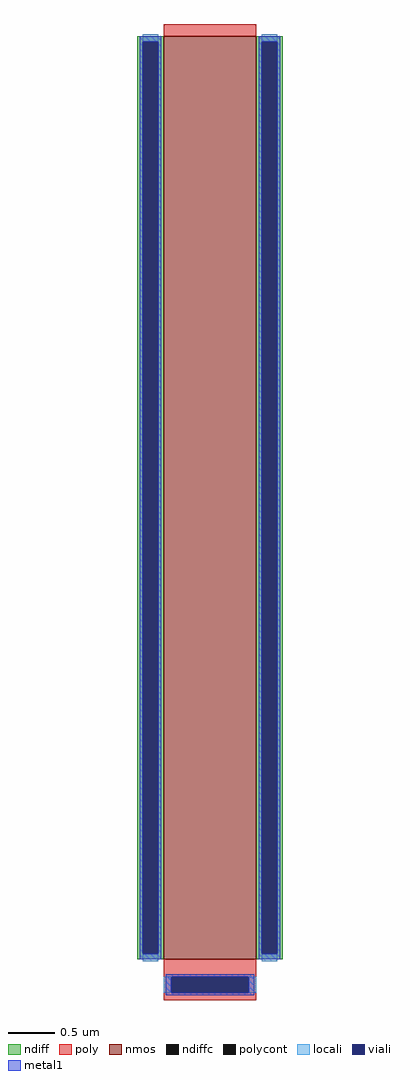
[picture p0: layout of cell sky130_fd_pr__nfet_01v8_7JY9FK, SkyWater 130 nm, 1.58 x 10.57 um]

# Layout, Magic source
magic
tech sky130A
magscale 1 2
<< nmos >>
rect -100 -969 100 1031
<< ndiff >>
rect -158 1019 -100 1031
rect -158 -957 -146 1019
rect -112 -957 -100 1019
rect -158 -969 -100 -957
rect 100 1019 158 1031
rect 100 -957 112 1019
rect 146 -957 158 1019
rect 100 -969 158 -957
<< ndiffc >>
rect -146 -957 -112 1019
rect 112 -957 146 1019
<< poly >>
rect -100 1031 100 1057
rect -100 -1007 100 -969
rect -100 -1041 -84 -1007
rect 84 -1041 100 -1007
rect -100 -1057 100 -1041
<< polycont >>
rect -84 -1041 84 -1007
<< locali >>
rect -146 1019 -112 1035
rect -146 -973 -112 -957
rect 112 1019 146 1035
rect 112 -973 146 -957
rect -100 -1041 -84 -1007
rect 84 -1041 100 -1007
<< viali >>
rect -146 -957 -112 1019
rect 112 -957 146 1019
rect -84 -1041 84 -1007
<< metal1 >>
rect -152 1019 -106 1031
rect -152 -957 -146 1019
rect -112 -957 -106 1019
rect -152 -969 -106 -957
rect 106 1019 152 1031
rect 106 -957 112 1019
rect 146 -957 152 1019
rect 106 -969 152 -957
rect -96 -1007 96 -1001
rect -96 -1041 -84 -1007
rect 84 -1041 96 -1007
rect -96 -1047 96 -1041
<< properties >>
string gencell sky130_fd_pr__nfet_01v8
string library sky130
string parameters w 10 l 1 m 1 nf 1 diffcov 100 polycov 100 guard 0 glc 0 grc 0 gtc 0 gbc 0 tbcov 100 rlcov 100 topc 0 botc 1 poverlap 0 doverlap 0 lmin 0.15 wmin 0.42 compatible {sky130_fd_pr__nfet_01v8 sky130_fd_pr__nfet_01v8_lvt  sky130_fd_bs_flash__special_sonosfet_star  sky130_fd_pr__nfet_g5v0d10v5 sky130_fd_pr__nfet_05v0_nvt  sky130_fd_pr__nfet_03v3_nvt} full_metal 0 viasrc 100 viadrn 100 viagate 100 viagb 0 viagr 0 viagl 0 viagt 0
string sky130_fd_pr__nfet_01v8_7JY9FK parameters
<< end >>
